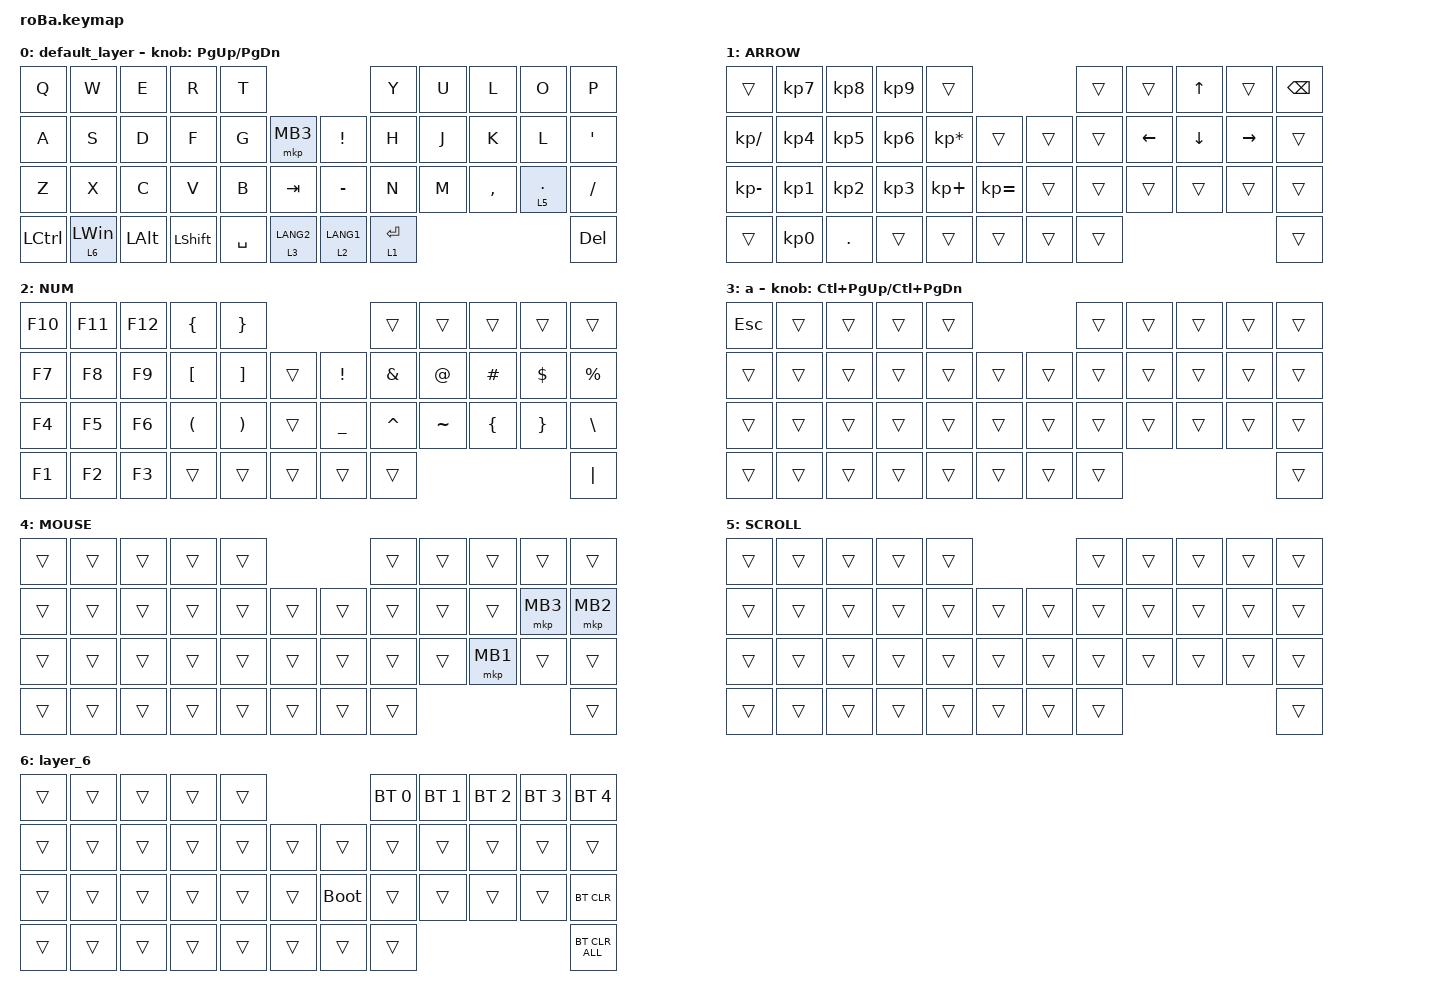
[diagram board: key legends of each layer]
#include <behaviors.dtsi>
#include <dt-bindings/zmk/bt.h>
#include <dt-bindings/zmk/keys.h>
#include <dt-bindings/zmk/pointing.h>

&mt {
    flavor = "balanced";
    quick-tap-ms = <0>;
};

&trackball {
    automouse-layer = <4>;
    scroll-layers = <5>;

    // arrows {
    //     layers = <3>;
    //     bindings =
    //         <&kp RIGHT_ARROW>,
    //         <&kp LEFT_ARROW>,
    //         <&kp UP_ARROW>,
    //         <&kp DOWN_ARROW>;
    //     tick = <10>;
    //     wait-ms = <5>;
    //     tap-ms = <5>;
    // };
};

/ {
    combos {
        compatible = "zmk,combos";

        tab {
            bindings = <&kp TAB>;
            key-positions = <11 12>;
        };

        shift_tab {
            bindings = <&kp LS(TAB)>;
            key-positions = <12 13>;
        };

        muhennkann {
            bindings = <&to_layer_0 INT_MUHENKAN>;
            key-positions = <11 10>;
        };

        double_quotation {
            bindings = <&kp DOUBLE_QUOTES>;
            key-positions = <20 21>;
        };

        eq {
            bindings = <&kp EQUAL>;
            key-positions = <24 25>;
        };
    };

    macros {
        to_layer_0: to_layer_0 {
            compatible = "zmk,behavior-macro-one-param";
            #binding-cells = <1>;
            bindings = <&to 0 &macro_param_1to1 &kp MACRO_PLACEHOLDER>;
            label = "TO_LAYER_0";
        };
    };

    behaviors {
        lt_to_layer_0: lt_to_layer_0 {
            compatible = "zmk,behavior-hold-tap";
            label = "LAYER_TAP_TO_0";
            bindings = <&mo>, <&to_layer_0>;

            #binding-cells = <2>;
            tapping-term-ms = <200>;
        };
    };

    keymap {
        compatible = "zmk,keymap";

        default_layer {
            bindings = <
&kp Q      &kp W       &kp E         &kp R           &kp T                                        &kp Y        &kp U  &kp L      &kp O      &kp P
&kp A      &kp S       &kp D         &kp F           &kp G      &mkp MB3         &kp EXCLAMATION  &kp H        &kp J  &kp K      &kp L      &kp SQT
&kp Z      &kp X       &kp C         &kp V           &kp B      &kp TAB          &kp MINUS        &kp N        &kp M  &kp COMMA  &lt 5 DOT  &kp SLASH
&kp LCTRL  &lt 6 LWIN  &kp LEFT_ALT  &kp LEFT_SHIFT  &kp SPACE  &lt 3 LANG2      &lt 2 LANG1      &lt 1 ENTER                               &kp DEL
            >;

            sensor-bindings = <&inc_dec_kp PG_UP PAGE_DOWN>;
        };

        ARROW {
            bindings = <
&trans         &kp KP_NUMBER_7  &kp KP_NUMBER_8  &kp KP_NUMBER_9  &trans                                     &trans  &trans    &kp UP_ARROW  &trans     &kp BACKSPACE
&kp KP_DIVIDE  &kp KP_NUMBER_4  &kp KP_NUMBER_5  &kp KP_NUMBER_6  &kp KP_MULTIPLY  &trans            &trans  &trans  &kp LEFT  &kp DOWN      &kp RIGHT  &trans
&kp KP_MINUS   &kp KP_NUMBER_1  &kp KP_NUMBER_2  &kp KP_NUMBER_3  &kp KP_PLUS      &kp KP_EQUAL      &trans  &trans  &trans    &trans        &trans     &trans
&trans         &kp KP_NUMBER_0  &kp PERIOD       &trans           &trans           &trans            &trans  &trans                                     &trans
            >;
        };

        NUM {
            bindings = <
&kp F10  &kp F11  &kp F12  &kp LEFT_BRACE        &kp RIGHT_BRACE                                     &trans         &trans       &trans          &trans           &trans
&kp F7   &kp F8   &kp F9   &kp LEFT_BRACKET      &kp RIGHT_BRACKET      &trans      &kp EXCLAMATION  &kp AMPERSAND  &kp AT_SIGN  &kp HASH        &kp DOLLAR       &kp PERCENT
&kp F4   &kp F5   &kp F6   &kp LEFT_PARENTHESIS  &kp RIGHT_PARENTHESIS  &trans      &kp UNDERSCORE   &kp CARET      &kp TILDE    &kp LEFT_BRACE  &kp RIGHT_BRACE  &kp BACKSLASH
&kp F1   &kp F2   &kp F3   &trans                &trans                 &trans      &trans           &trans                                                       &kp PIPE
            >;
        };

        a {
            bindings = <
&kp ESCAPE  &trans  &trans  &trans  &trans                      &trans  &trans  &trans  &trans  &trans
&trans      &trans  &trans  &trans  &trans  &trans      &trans  &trans  &trans  &trans  &trans  &trans
&trans      &trans  &trans  &trans  &trans  &trans      &trans  &trans  &trans  &trans  &trans  &trans
&trans      &trans  &trans  &trans  &trans  &trans      &trans  &trans                          &trans
            >;

            sensor-bindings = <&inc_dec_kp LC(PAGE_UP) LC(PAGE_DOWN)>;
        };

        MOUSE {
            bindings = <
&trans  &trans  &trans  &trans  &trans                      &trans  &trans  &trans    &trans    &trans
&trans  &trans  &trans  &trans  &trans  &trans      &trans  &trans  &trans  &trans    &mkp MB3  &mkp MB2
&trans  &trans  &trans  &trans  &trans  &trans      &trans  &trans  &trans  &mkp MB1  &trans    &trans
&trans  &trans  &trans  &trans  &trans  &trans      &trans  &trans                              &trans
            >;
        };

        SCROLL {
            bindings = <
&trans  &trans  &trans  &trans  &trans                      &trans  &trans  &trans  &trans  &trans
&trans  &trans  &trans  &trans  &trans  &trans      &trans  &trans  &trans  &trans  &trans  &trans
&trans  &trans  &trans  &trans  &trans  &trans      &trans  &trans  &trans  &trans  &trans  &trans
&trans  &trans  &trans  &trans  &trans  &trans      &trans  &trans                          &trans
            >;
        };

        layer_6 {
            bindings = <
&trans  &trans  &trans  &trans  &trans                           &bt BT_SEL 0  &bt BT_SEL 1  &bt BT_SEL 2  &bt BT_SEL 3  &bt BT_SEL 4
&trans  &trans  &trans  &trans  &trans  &trans      &trans       &trans        &trans        &trans        &trans        &trans
&trans  &trans  &trans  &trans  &trans  &trans      &bootloader  &trans        &trans        &trans        &trans        &bt BT_CLR
&trans  &trans  &trans  &trans  &trans  &trans      &trans       &trans                                                  &bt BT_CLR_ALL
            >;
        };
    };
};
